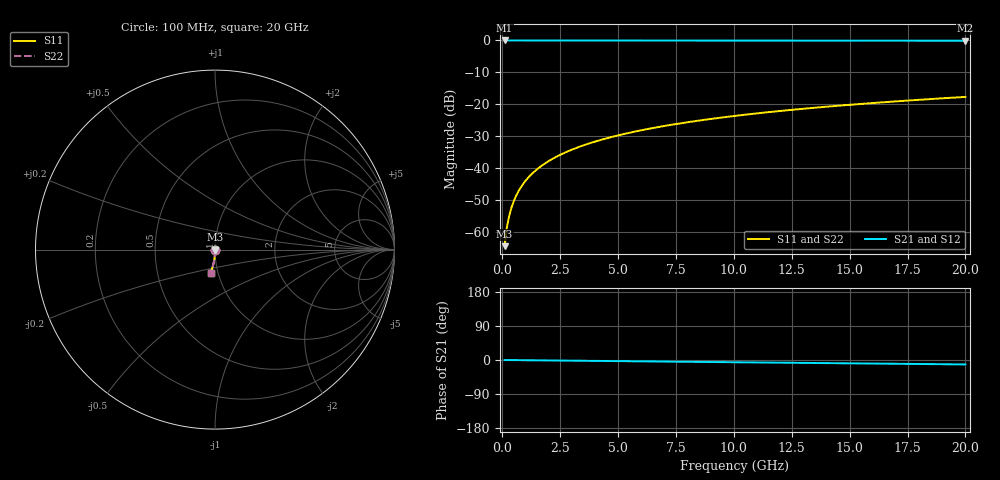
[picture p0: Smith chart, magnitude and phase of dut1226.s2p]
! Touchstone file exported from HFSS 2026.1.0
!  File:  C:/ffzhzh/LocalFiles/Ansys_Project_Files/temp_train_TSV_1226_1783193171_22436.aedt
!  Generated:  03:27:21 AM Jul  5, 2026
!  Design:  TSV
!  Project:  temp_train_TSV_1226_1783193171_22436
! Variables:
!  h_bsmrdl = 2um
!  h_ox = 20um
!  h_rdl = 5um
!  h_sub = 97.7um
!  h_tmrdl = 5um
!  h_tsv = 97.7um
!  h_via = 3um
!  l_bsmrdl = 300um
!  l_sub = 427.72um
!  l_tmrdl = 200um
!  m_sub = 200um
!  pitch = 33.22um
!  r_tsv = 13.86um
!  s_tmrdl = 10um
!  w_bsmrdl = 18um
!  w_sub = 500um
!  w_tmrdl = 12um
!  x_tsv_center1 = 206um
!  x_tsv_center2 = 524um
!  x_tsv_center3 = 736um
!  x_tsv_center4 = 1054um
!  x_tsv_center5 = 1266um
!  x_tsv_center6 = 1584um
# GHz S MA R 50.000000
! Terminal data exported
! Port[1] = TSV1_1_T1
! Port[2] = TSV1_1_T2
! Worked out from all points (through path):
!   200 points, 100 MHz to 20 GHz, reference 50 ohm
!   highest |S21| = 0.00 dB at 100 MHz (marker M1); lowest = -0.1 dB at 20 GHz (marker M2)
!   group delay of S21, straight-line fit = 1.62 ps
!   lowest |S11| = -64.4 dB at 100 MHz (marker M3), VSWR 1.00, Z = 50 - j0.0593 ohm
!   |S11| at or under -10 dB: start of sweep to end of sweep
!   |S22| runs from -64.4 to -17.7 dB; largest |S21 - S12| = 3.8e-15
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0.1  0.0006031 -79.7  0.9999 -0.1  0.9999 -0.1  0.0006031 -79.7
! Gamma 0 0 0 0
! Port Impedance 50 0 50 0
0.2  0.001201 -83.8  0.9999 -0.1  0.9999 -0.1  0.001201 -83.8
0.3  0.001814 -84.9  0.9998 -0.2  0.9998 -0.2  0.001814 -84.9
0.4  0.002441 -85.4  0.9998 -0.2  0.9998 -0.2  0.002441 -85.4
0.5  0.003078 -85.7  0.9997 -0.3  0.9997 -0.3  0.003078 -85.7
0.7  0.004374 -86.3  0.9997 -0.4  0.9997 -0.4  0.004374 -86.3
0.8  0.005029 -86.6  0.9996 -0.5  0.9996 -0.5  0.005029 -86.6
1  0.006343 -87.1  0.9996 -0.6  0.9996 -0.6  0.006343 -87.1
1.2  0.007659 -87.6  0.9995 -0.7  0.9995 -0.7  0.007659 -87.6
1.4  0.008976 -88.0  0.9995 -0.8  0.9995 -0.8  0.008976 -88.0
1.7  0.01095 -88.5  0.9994 -1.0  0.9994 -1.0  0.01095 -88.5
2  0.01292 -88.9  0.9994 -1.2  0.9994 -1.2  0.01292 -88.9
2.7  0.01752 -89.7  0.9993 -1.6  0.9993 -1.6  0.01752 -89.7
3.5  0.02279 -90.4  0.9991 -2.1  0.9991 -2.1  0.02279 -90.4
4.2  0.0274 -91.0  0.9989 -2.5  0.9989 -2.5  0.0274 -91.0
5  0.03267 -91.6  0.9987 -3.0  0.9987 -3.0  0.03267 -91.6
6.8  0.04456 -92.8  0.9981 -4.0  0.9981 -4.0  0.04456 -92.8
8.3  0.05446 -93.8  0.9975 -4.9  0.9975 -4.9  0.05446 -93.8
10.1  0.06631 -94.9  0.9966 -6.0  0.9966 -6.0  0.06631 -94.9
13.4  0.08796 -97.0  0.9948 -7.9  0.9948 -7.9  0.08796 -97.0
16.7  0.1094 -99.0  0.9925 -9.8  0.9925 -9.8  0.1094 -99.0
20  0.1307 -101.0  0.9897 -11.7  0.9897 -11.7  0.1307 -101.0
